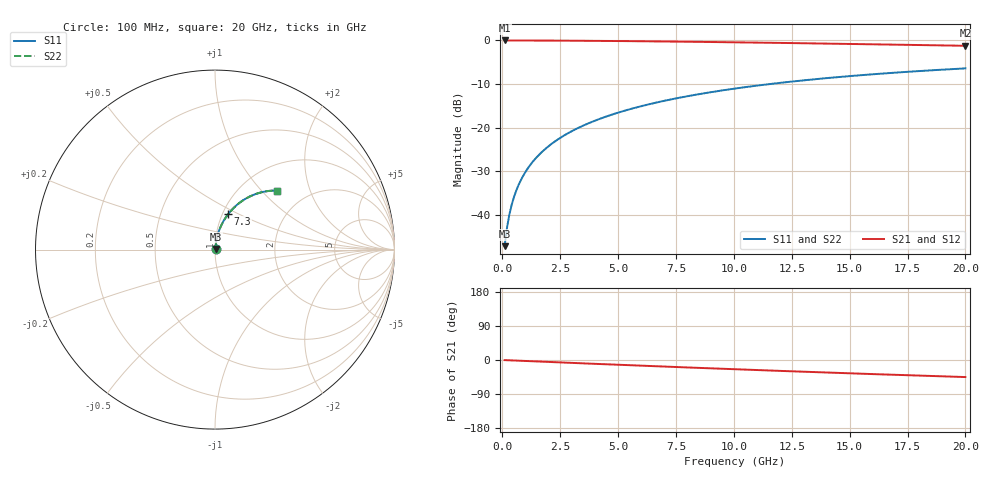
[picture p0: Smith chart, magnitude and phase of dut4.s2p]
! Touchstone file exported from HFSS 2026.1.0
!  File:  C:/ffzhzh/LocalFiles/Ansys_Project_Files/temp_train_TMRDL_4_1782879594_39248.aedt
!  Generated:  12:21:17 PM Jul  1, 2026
!  Design:  TMRDL
!  Project:  temp_train_TMRDL_4_1782879594_39248
! Variables:
!  h_bsmrdl = 2um
!  h_ox = 20um
!  h_rdl = 5um
!  h_sub = 80um
!  h_tmrdl = 5.8um
!  h_tsv = 80um
!  h_via = 3um
!  l_bsmrdl = 300um
!  l_sub = 1026.91um
!  l_tmrdl = 626.91um
!  m_sub = 200um
!  pitch = 48.48um
!  r_tsv = 6um
!  s_tmrdl = 10um
!  w_bsmrdl = 18um
!  w_sub = 500um
!  w_tmrdl = 12.81um
!  x_tsv_center1 = 633.315um
!  x_tsv_center2 = 951.315um
!  x_tsv_center3 = 1591.035um
!  x_tsv_center4 = 1909.035um
!  x_tsv_center5 = 2548.755um
!  x_tsv_center6 = 2866.755um
# GHz S MA R 50.000000
! Terminal data exported
! Port[1] = TM_RDL1_1_T1
! Port[2] = TM_RDL1_1_T2
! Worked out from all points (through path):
!   200 points, 100 MHz to 20 GHz, reference 50 ohm
!   highest |S21| = -0.03 dB at 100 MHz (marker M1); lowest = -1.2 dB at 20 GHz (marker M2)
!   group delay of S21, straight-line fit = 6.26 ps
!   lowest |S11| = -47.1 dB at 100 MHz (marker M3), VSWR 1.01, Z = 50.3 + j0.32 ohm
!   |S11| at or under -10 dB: start of sweep to 11.56 GHz
!   |S22| runs from -47.1 to -6.4 dB; largest |S21 - S12| = 2.7e-15
!   S11 on the Smith chart (normalised r, x): 100 MHz: 1.01, +0.01; 7.3 GHz: 1.06, +0.44; 20 GHz: 1.44, +1.23
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0.1  0.004408 46.2  0.997 -0.3  0.997 -0.3  0.004408 46.2
! Gamma 0 0 0 0
! Port Impedance 50 0 50 0
0.2  0.007071 63.4  0.9969 -0.5  0.9969 -0.5  0.007071 63.4
0.3  0.009984 70.6  0.9968 -0.8  0.9968 -0.8  0.009984 70.6
0.4  0.01296 74.4  0.9967 -1.0  0.9967 -1.0  0.01296 74.4
0.5  0.01597 76.7  0.9966 -1.3  0.9966 -1.3  0.01597 76.7
0.7  0.02202 79.2  0.9963 -1.8  0.9963 -1.8  0.02202 79.2
0.8  0.02506 79.9  0.9962 -2.1  0.9962 -2.1  0.02506 79.9
1  0.03115 80.8  0.9959 -2.6  0.9959 -2.6  0.03115 80.8
1.2  0.03724 81.2  0.9956 -3.1  0.9956 -3.1  0.03724 81.2
1.4  0.04332 81.3  0.9952 -3.6  0.9952 -3.6  0.04332 81.3
1.7  0.05242 81.2  0.9946 -4.4  0.9946 -4.4  0.05242 81.2
2  0.06148 80.9  0.9938 -5.1  0.9938 -5.1  0.06148 80.9
2.7  0.0824 79.7  0.9917 -6.9  0.9917 -6.9  0.0824 79.7
3.5  0.1059 78.1  0.9888 -8.9  0.9888 -8.9  0.1059 78.1
4.2  0.1261 76.5  0.9858 -10.6  0.9858 -10.6  0.1261 76.5
5  0.1487 74.8  0.9819 -12.6  0.9819 -12.6  0.1487 74.8
6.8  0.198 70.7  0.9719 -16.9  0.9719 -16.9  0.198 70.7
7.3  0.2113 69.6  0.9688 -18.1  0.9688 -18.1  0.2113 69.6
10.1  0.2819 63.5  0.9494 -24.5  0.9494 -24.5  0.282 63.4
13.4  0.3568 56.5  0.9231 -31.8  0.9231 -31.8  0.3568 56.4
16.7  0.422 49.8  0.8949 -38.6  0.8949 -38.6  0.422 49.8
20  0.4776 43.6  0.8665 -45.0  0.8665 -45.0  0.4776 43.5
